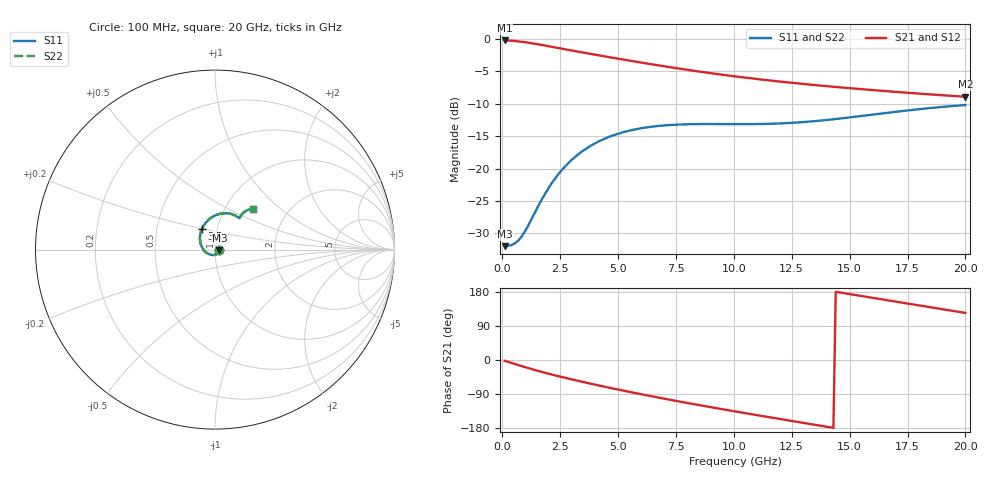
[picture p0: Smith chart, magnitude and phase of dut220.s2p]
! Created with skrf 1.9.0 (http://scikit-rf.org).
# GHz S RI R 50.0
!freq ReS11 ImS11 ReS21 ImS21 ReS12 ImS12 ReS22 ImS22
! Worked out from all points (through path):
!   200 points, 100 MHz to 20 GHz, reference 50 ohm
!   highest |S21| = -0.22 dB at 100 MHz (marker M1); lowest = -8.9 dB at 20 GHz (marker M2)
!   group delay of S21, straight-line fit = 31.1 ps
!   lowest |S11| = -32.0 dB at 100 MHz (marker M3), VSWR 1.05, Z = 52.5 - j0.519 ohm
!   |S11| at or under -10 dB: start of sweep to end of sweep
!   |S22| runs from -32.0 to -10.2 dB; largest |S21 - S12| = 2.1e-15
!   S11 on the Smith chart (normalised r, x): 100 MHz: 1.05, -0.01; 3.5 GHz: 0.84, +0.20; 20 GHz: 1.34, +0.67
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0.1  0.0247 -0.00493  0.9739 -0.0336  0.9739 -0.0336  0.0247 -0.00493
0.5  0.0142 -0.0221  0.952 -0.1646  0.952 -0.1646  0.0142 -0.0221
0.8  -0.0013 -0.0293  0.9191 -0.2551  0.9191 -0.2551  -0.0013 -0.0293
1.2  -0.0267 -0.028  0.8592 -0.3609  0.8592 -0.3609  -0.0267 -0.028
1.7  -0.0567 -0.00926  0.7686 -0.4677  0.7686 -0.4677  -0.0567 -0.00926
2.1  -0.0738 0.0156  0.6904 -0.5342  0.6904 -0.5342  -0.0738 0.0156
2.5  -0.0826 0.0449  0.6106 -0.5865  0.6106 -0.5865  -0.0826 0.0449
3  -0.0825 0.0827  0.5112 -0.6348  0.5112 -0.6348  -0.0825 0.0827
3.5  -0.072 0.1175  0.4141 -0.6672  0.4141 -0.6672  -0.072 0.1175
4.2  -0.0458 0.1566  0.284 -0.6901  0.284 -0.6901  -0.0458 0.1566
5  -0.00826 0.1856  0.1466 -0.6895  0.1466 -0.6895  -0.00826 0.1856
5.8  0.0294 0.1996  0.0239 -0.6664  0.0239 -0.6664  0.0294 0.1996
6.8  0.0694 0.2022  -0.1069 -0.6143  -0.1069 -0.6143  0.0694 0.2022
7.6  0.0937 0.1975  -0.1933 -0.5599  -0.1933 -0.5599  0.0937 0.1975
8.4  0.111 0.1905  -0.2644 -0.4984  -0.2644 -0.4984  0.111 0.1905
10.1  0.1301 0.1777  -0.3704 -0.3556  -0.3704 -0.3556  0.1301 0.1777
11.7  0.1362 0.1754  -0.4226 -0.2179  -0.4226 -0.2179  0.1362 0.1754
13.4  0.1411 0.1837  -0.436 -0.077  -0.436 -0.077  0.1411 0.1837
15  0.1504 0.1975  -0.415 0.044  -0.415 0.044  0.1504 0.1975
16.7  0.1672 0.2125  -0.3629 0.1543  -0.3629 0.1543  0.1672 0.2125
18.4  0.189 0.223  -0.2872 0.2404  -0.2872 0.2404  0.189 0.223
20  0.2101 0.2268  -0.2014 0.2963  -0.2014 0.2963  0.2101 0.2268
